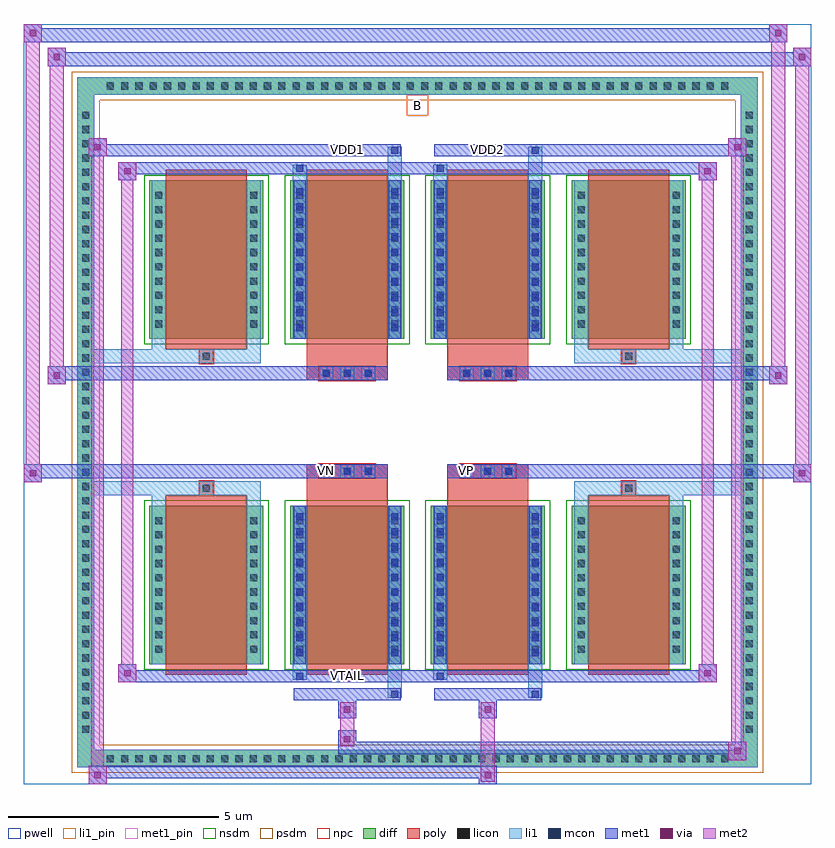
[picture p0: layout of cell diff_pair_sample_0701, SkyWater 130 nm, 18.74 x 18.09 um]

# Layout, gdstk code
import gdstk
lib = gdstk.Library(unit=1e-6, precision=5e-09)
def R(c, l, rs):  # rectangles x0, y0, x1, y1
    for r in rs: c.add(gdstk.rectangle(r[:2], r[2:], *l))
def A(c, l, x, y, w, h, nx, ny, dx, dy):  # array of equal rectangles
    R(c, l, [(x+i*dx, y+j*dy, x+i*dx+w, y+j*dy+h) for i in range(nx) for j in range(ny)])
def P(c, l, *ps):  # polygons
    for p in ps: c.add(gdstk.Polygon(p, *l))
pwell = (64, 44)
diff = (65, 20)
poly = (66, 20)
licon = (66, 44)
li1_pin = (67, 16)
li1 = (67, 20)
mcon = (67, 44)
met1_pin = (68, 16)
met1 = (68, 20)
via = (68, 44)
met2 = (69, 20)
nsdm = (93, 44)
psdm = (94, 20)
npc = (95, 20)

diff_pair_sample_0701 = lib.new_cell('diff_pair_sample_0701')
R(diff_pair_sample_0701, pwell, [(-9.37,-8.61,9.37,9.48), (-6.69,-6.8,-0.01,-0.8), (0.01,-6.8,6.69,-0.8), (-6.69,0.8,-0.01,6.8), (0.01,0.8,6.69,6.8)])
A(diff_pair_sample_0701, diff, -7.515, -8.21, 0.41, 0.41, 44, 2, 0.34, 16.01)
A(diff_pair_sample_0701, diff, -8.1, -7.515, 0.41, 0.41, 1, 44, 0, 0.34)
A(diff_pair_sample_0701, diff, 7.69, -7.515, 0.41, 0.41, 1, 44, 0, 0.34)
A(diff_pair_sample_0701, diff, -6.38, -5.755, 2.71, 3.77, 4, 2, 3.35, 7.74)
R(diff_pair_sample_0701, diff, [(-7.515,-8.21,7.515,-7.8), (-8.1,-7.515,-7.69,7.515), (7.69,-7.515,8.1,7.515), (-7.515,7.8,7.515,8.21)])
P(diff_pair_sample_0701, diff, [(8.1,8.21),(-8.1,8.21),(-8.1,-7.8),(-7.69,-7.8),(-7.69,7.8),(7.69,7.8),(7.69,-7.8),(-7.69,-7.8),(-8.1,-7.8),(-8.1,-8.21),(8.1,-8.21)])
A(diff_pair_sample_0701, poly, -5.99, -6.005, 1.93, 4.27, 4, 2, 3.35, 7.74)
A(diff_pair_sample_0701, poly, -2.34, -1.33, 0.33, 0.33, 3, 2, 0.5, 2.33)
A(diff_pair_sample_0701, poly, 1.01, -1.33, 0.33, 0.33, 3, 2, 0.5, 2.33)
R(diff_pair_sample_0701, poly, [(-5.19,-1.735,-4.86,-1.405), (-5.19,-1.735,-4.86,-1.405), (-2.64,-1.735,-0.71,-1.33), (0.71,-1.735,2.64,-1.33), (4.86,-1.735,5.19,-1.405), (4.86,-1.735,5.19,-1.405), (-2.64,-1.33,-0.71,-1), (0.71,-1.33,2.64,-1), (-2.64,1,-0.71,1.33), (0.71,1,2.64,1.33), (-2.64,1.33,-0.71,1.735), (0.71,1.33,2.64,1.735), (-5.19,1.405,-4.86,1.735), (-5.19,1.405,-4.86,1.735), (4.86,1.405,5.19,1.735), (4.86,1.405,5.19,1.735)])
A(diff_pair_sample_0701, licon, -7.395, -8.09, 0.17, 0.17, 44, 2, 0.34, 16.01)
A(diff_pair_sample_0701, licon, -7.98, -7.395, 0.17, 0.17, 1, 44, 0, 0.34)
A(diff_pair_sample_0701, licon, 7.81, -7.395, 0.17, 0.17, 1, 44, 0, 0.34)
A(diff_pair_sample_0701, licon, -6.24, -5.485, 0.17, 0.17, 1, 10, 0, 0.34)
A(diff_pair_sample_0701, licon, -3.98, -5.485, 0.17, 0.17, 1, 10, 0, 0.34)
A(diff_pair_sample_0701, licon, -2.89, -5.485, 0.17, 0.17, 1, 10, 0, 0.34)
A(diff_pair_sample_0701, licon, -0.63, -5.485, 0.17, 0.17, 1, 10, 0, 0.34)
A(diff_pair_sample_0701, licon, 0.46, -5.485, 0.17, 0.17, 1, 10, 0, 0.34)
A(diff_pair_sample_0701, licon, 2.72, -5.485, 0.17, 0.17, 1, 10, 0, 0.34)
A(diff_pair_sample_0701, licon, 3.81, -5.485, 0.17, 0.17, 1, 10, 0, 0.34)
A(diff_pair_sample_0701, licon, 6.07, -5.485, 0.17, 0.17, 1, 10, 0, 0.34)
A(diff_pair_sample_0701, licon, -2.26, -1.25, 0.17, 0.17, 3, 2, 0.5, 2.33)
A(diff_pair_sample_0701, licon, 1.09, -1.25, 0.17, 0.17, 3, 2, 0.5, 2.33)
A(diff_pair_sample_0701, licon, -6.24, 2.255, 0.17, 0.17, 1, 10, 0, 0.34)
A(diff_pair_sample_0701, licon, -3.98, 2.255, 0.17, 0.17, 1, 10, 0, 0.34)
A(diff_pair_sample_0701, licon, -2.89, 2.255, 0.17, 0.17, 1, 10, 0, 0.34)
A(diff_pair_sample_0701, licon, -0.63, 2.255, 0.17, 0.17, 1, 10, 0, 0.34)
A(diff_pair_sample_0701, licon, 0.46, 2.255, 0.17, 0.17, 1, 10, 0, 0.34)
A(diff_pair_sample_0701, licon, 2.72, 2.255, 0.17, 0.17, 1, 10, 0, 0.34)
A(diff_pair_sample_0701, licon, 3.81, 2.255, 0.17, 0.17, 1, 10, 0, 0.34)
A(diff_pair_sample_0701, licon, 6.07, 2.255, 0.17, 0.17, 1, 10, 0, 0.34)
R(diff_pair_sample_0701, licon, [(-5.11,-1.655,-4.94,-1.485), (4.94,-1.655,5.11,-1.485), (-5.11,1.485,-4.94,1.655), (4.94,1.485,5.11,1.655)])
R(diff_pair_sample_0701, li1_pin, [(-0.25,7.3,0.25,7.8)])
A(diff_pair_sample_0701, li1, -7.475, -8.17, 0.33, 0.33, 44, 2, 0.34, 16.01)
A(diff_pair_sample_0701, li1, -8.06, -7.475, 0.33, 0.33, 1, 44, 0, 0.34)
A(diff_pair_sample_0701, li1, 7.73, -7.475, 0.33, 0.33, 1, 44, 0, 0.34)
A(diff_pair_sample_0701, li1, -2.89, -5.575, 0.17, 0.17, 1, 10, 0, 0.36)
A(diff_pair_sample_0701, li1, -0.63, -5.575, 0.17, 0.17, 1, 10, 0, 0.36)
A(diff_pair_sample_0701, li1, 0.46, -5.575, 0.17, 0.17, 1, 10, 0, 0.36)
A(diff_pair_sample_0701, li1, 2.72, -5.575, 0.17, 0.17, 1, 10, 0, 0.36)
A(diff_pair_sample_0701, li1, -6.32, -5.565, 0.33, 0.33, 1, 10, 0, 0.34)
A(diff_pair_sample_0701, li1, -4.06, -5.565, 0.33, 0.33, 1, 10, 0, 0.34)
A(diff_pair_sample_0701, li1, -2.97, -5.565, 0.33, 0.33, 1, 10, 0, 0.34)
A(diff_pair_sample_0701, li1, -0.71, -5.565, 0.33, 0.33, 1, 10, 0, 0.34)
A(diff_pair_sample_0701, li1, 0.38, -5.565, 0.33, 0.33, 1, 10, 0, 0.34)
A(diff_pair_sample_0701, li1, 2.64, -5.565, 0.33, 0.33, 1, 10, 0, 0.34)
A(diff_pair_sample_0701, li1, 3.73, -5.565, 0.33, 0.33, 1, 10, 0, 0.34)
A(diff_pair_sample_0701, li1, 5.99, -5.565, 0.33, 0.33, 1, 10, 0, 0.34)
A(diff_pair_sample_0701, li1, -2.34, -1.33, 0.33, 0.33, 3, 2, 0.5, 2.33)
A(diff_pair_sample_0701, li1, 1.01, -1.33, 0.33, 0.33, 3, 2, 0.5, 2.33)
A(diff_pair_sample_0701, li1, -2.89, 2.165, 0.17, 0.17, 1, 10, 0, 0.36)
A(diff_pair_sample_0701, li1, -0.63, 2.165, 0.17, 0.17, 1, 10, 0, 0.36)
A(diff_pair_sample_0701, li1, 0.46, 2.165, 0.17, 0.17, 1, 10, 0, 0.36)
A(diff_pair_sample_0701, li1, 2.72, 2.165, 0.17, 0.17, 1, 10, 0, 0.36)
A(diff_pair_sample_0701, li1, -6.32, 2.175, 0.33, 0.33, 1, 10, 0, 0.34)
A(diff_pair_sample_0701, li1, -4.06, 2.175, 0.33, 0.33, 1, 10, 0, 0.34)
A(diff_pair_sample_0701, li1, -2.97, 2.175, 0.33, 0.33, 1, 10, 0, 0.34)
A(diff_pair_sample_0701, li1, -0.71, 2.175, 0.33, 0.33, 1, 10, 0, 0.34)
A(diff_pair_sample_0701, li1, 0.38, 2.175, 0.33, 0.33, 1, 10, 0, 0.34)
A(diff_pair_sample_0701, li1, 2.64, 2.175, 0.33, 0.33, 1, 10, 0, 0.34)
A(diff_pair_sample_0701, li1, 3.73, 2.175, 0.33, 0.33, 1, 10, 0, 0.34)
A(diff_pair_sample_0701, li1, 5.99, 2.175, 0.33, 0.33, 1, 10, 0, 0.34)
R(diff_pair_sample_0701, li1, [(-8.1,-8.21,-7.69,-7.8), (-8.1,-8.21,-7.69,-7.8), (-7.69,-8.21,7.69,-7.8), (7.69,-8.21,8.1,-7.8), (7.69,-8.21,8.1,-7.8), (-8.1,-7.8,-7.69,7.8), (7.69,-7.8,8.1,7.8), (-0.71,-6.56,-0.38,-5.755), (-0.63,-6.56,-0.46,-6.39), (2.64,-6.56,2.97,-5.755), (2.72,-6.56,2.89,-6.39), (-2.97,-6.13,-2.64,-5.755), (-2.89,-6.13,-2.72,-5.96), (0.38,-6.13,0.71,-5.755), (0.46,-6.13,0.63,-5.96), (-6.32,-5.755,-5.99,-1.985), (-4.06,-5.755,-3.73,-1.985), (-2.97,-5.755,-2.64,-1.985), (-0.71,-5.755,-0.38,-1.985), (0.38,-5.755,0.71,-1.985), (2.64,-5.755,2.97,-1.985), (3.73,-5.755,4.06,-1.985), (5.99,-5.755,6.32,-1.985), (-2.89,-5.575,-2.72,-2.165), (-0.63,-5.575,-0.46,-2.165), (0.46,-5.575,0.63,-2.165), (2.72,-5.575,2.89,-2.165), (-6.32,-1.985,-5.99,-1.405), (-4.06,-1.985,-3.73,-1.405), (3.73,-1.985,4.06,-1.405), (5.99,-1.985,6.32,-1.405), (-8.1,-1.735,-5.19,-1.405), (-6.32,-1.735,-5.19,-1.405), (-5.19,-1.735,-4.86,-1.405), (-4.86,-1.735,-3.73,-1.405), (3.73,-1.735,4.86,-1.405), (4.86,-1.735,5.19,-1.405), (4.86,-1.735,8.1,-1.405), (5.19,-1.735,6.32,-1.405), (-8.1,1.405,-5.19,1.735), (-6.32,1.405,-5.19,1.735), (-6.32,1.405,-5.99,1.985), (-5.19,1.405,-4.86,1.735), (-4.86,1.405,-3.73,1.735), (-4.06,1.405,-3.73,1.985), (3.73,1.405,4.86,1.735), (3.73,1.405,4.06,1.985), (4.86,1.405,5.19,1.735), (4.86,1.405,8.1,1.735), (5.19,1.405,6.32,1.735), (5.99,1.405,6.32,1.985), (-6.32,1.985,-5.99,5.755), (-4.06,1.985,-3.73,5.755), (-2.97,1.985,-2.64,5.755), (-0.71,1.985,-0.38,5.755), (0.38,1.985,0.71,5.755), (2.64,1.985,2.97,5.755), (3.73,1.985,4.06,5.755), (5.99,1.985,6.32,5.755), (-2.89,2.165,-2.72,5.575), (-0.63,2.165,-0.46,5.575), (0.46,2.165,0.63,5.575), (2.72,2.165,2.89,5.575), (-2.97,5.755,-2.64,6.13), (-0.71,5.755,-0.38,6.56), (0.38,5.755,0.71,6.13), (2.64,5.755,2.97,6.56), (-2.89,5.96,-2.72,6.13), (0.46,5.96,0.63,6.13), (-0.63,6.39,-0.46,6.56), (2.72,6.39,2.89,6.56), (-8.1,7.8,-7.69,8.21), (-8.1,7.8,-7.69,8.21), (-7.69,7.8,7.69,8.21), (7.69,7.8,8.1,8.21), (7.69,7.8,8.1,8.21)])
A(diff_pair_sample_0701, mcon, -2.89, -5.575, 0.17, 0.17, 1, 10, 0, 0.36)
A(diff_pair_sample_0701, mcon, -0.63, -5.575, 0.17, 0.17, 1, 10, 0, 0.36)
A(diff_pair_sample_0701, mcon, 0.46, -5.575, 0.17, 0.17, 1, 10, 0, 0.36)
A(diff_pair_sample_0701, mcon, 2.72, -5.575, 0.17, 0.17, 1, 10, 0, 0.36)
A(diff_pair_sample_0701, mcon, -2.26, -1.25, 0.17, 0.17, 3, 2, 0.5, 2.33)
A(diff_pair_sample_0701, mcon, 1.09, -1.25, 0.17, 0.17, 3, 2, 0.5, 2.33)
A(diff_pair_sample_0701, mcon, -2.89, 2.165, 0.17, 0.17, 1, 10, 0, 0.36)
A(diff_pair_sample_0701, mcon, -0.63, 2.165, 0.17, 0.17, 1, 10, 0, 0.36)
A(diff_pair_sample_0701, mcon, 0.46, 2.165, 0.17, 0.17, 1, 10, 0, 0.36)
A(diff_pair_sample_0701, mcon, 2.72, 2.165, 0.17, 0.17, 1, 10, 0, 0.36)
R(diff_pair_sample_0701, mcon, [(-0.63,-6.56,-0.46,-6.39), (2.72,-6.56,2.89,-6.39), (-2.89,-6.13,-2.72,-5.96), (0.46,-6.13,0.63,-5.96), (-2.89,5.96,-2.72,6.13), (0.46,5.96,0.63,6.13), (-0.63,6.39,-0.46,6.56), (2.72,6.39,2.89,6.56)])
R(diff_pair_sample_0701, met1_pin, [(-1.81,-6.17,-1.54,-5.9), (-2.31,-1.29,-2.04,-1.02), (1.04,-1.29,1.31,-1.02), (-1.81,6.35,-1.54,6.62), (1.54,6.35,1.81,6.62)])
A(diff_pair_sample_0701, met1, -2.95, -5.635, 0.29, 0.29, 1, 10, 0, 0.36)
A(diff_pair_sample_0701, met1, -0.69, -5.635, 0.29, 0.29, 1, 10, 0, 0.36)
A(diff_pair_sample_0701, met1, 0.4, -5.635, 0.29, 0.29, 1, 10, 0, 0.36)
A(diff_pair_sample_0701, met1, 2.66, -5.635, 0.29, 0.29, 1, 10, 0, 0.36)
A(diff_pair_sample_0701, met1, -2.32, -1.31, 0.29, 0.29, 3, 2, 0.5, 2.33)
A(diff_pair_sample_0701, met1, 1.03, -1.31, 0.29, 0.29, 3, 2, 0.5, 2.33)
A(diff_pair_sample_0701, met1, -2.95, 2.105, 0.29, 0.29, 1, 10, 0, 0.36)
A(diff_pair_sample_0701, met1, -0.69, 2.105, 0.29, 0.29, 1, 10, 0, 0.36)
A(diff_pair_sample_0701, met1, 0.4, 2.105, 0.29, 0.29, 1, 10, 0, 0.36)
A(diff_pair_sample_0701, met1, 2.66, 2.105, 0.29, 0.29, 1, 10, 0, 0.36)
R(diff_pair_sample_0701, met1, [(-7.83,-8.61,-7.4,-8.18), (1.46,-8.61,1.89,-8.18), (-7.83,-8.47,1.89,-8.18), (7.4,-8.04,7.83,-7.61), (-1.89,-7.9,7.83,-7.61), (-1.89,-7.76,-1.46,-7.33), (-1.89,-7.05,-1.46,-6.62), (1.46,-7.05,1.89,-6.62), (-2.95,-6.62,-0.4,-6.33), (-0.69,-6.62,-0.4,-6.33), (0.4,-6.62,2.95,-6.33), (2.66,-6.62,2.95,-6.33), (-7.12,-6.19,-6.69,-5.76), (-7.12,-6.19,-2.95,-5.9), (-2.95,-6.19,-2.66,-5.9), (-2.95,-6.19,-0.4,-5.9), (-0.4,-6.19,0.4,-5.9), (0.4,-6.19,0.69,-5.9), (0.4,-6.19,2.95,-5.9), (2.95,-6.19,7.12,-5.9), (6.69,-6.19,7.12,-5.76), (-2.95,-5.755,-2.66,-1.985), (-0.69,-5.755,-0.4,-1.985), (0.4,-5.755,0.69,-1.985), (2.66,-5.755,2.95,-1.985), (-9.37,-1.43,-8.94,-1), (8.94,-1.43,9.37,-1), (-9.37,-1.33,-0.71,-1), (-2.64,-1.33,-0.71,-1), (0.71,-1.33,2.64,-1), (0.71,-1.33,9.37,-1), (-8.8,0.9,-8.37,1.33), (8.37,0.9,8.8,1.33), (-8.8,1,-2.64,1.33), (-2.64,1,-0.71,1.33), (0.71,1,2.64,1.33), (2.64,1,8.8,1.33), (-2.95,1.985,-2.66,5.755), (-0.69,1.985,-0.4,5.755), (0.4,1.985,0.69,5.755), (2.66,1.985,2.95,5.755), (-7.12,5.76,-6.69,6.19), (6.69,5.76,7.12,6.19), (-7.12,5.9,-2.95,6.19), (-2.95,5.9,-2.66,6.19), (-2.95,5.9,-0.4,6.19), (-0.4,5.9,0.4,6.19), (0.4,5.9,0.69,6.19), (0.4,5.9,2.95,6.19), (2.95,5.9,7.12,6.19), (-7.83,6.33,-7.4,6.76), (-7.83,6.33,-2.95,6.62), (-2.95,6.33,-0.4,6.62), (-0.69,6.33,-0.4,6.62), (0.4,6.33,2.95,6.62), (2.66,6.33,2.95,6.62), (2.95,6.33,7.83,6.62), (7.4,6.33,7.83,6.76), (-8.8,8.48,-8.37,8.91), (-8.8,8.48,-6.69,8.81), (-6.69,8.48,6.69,8.81), (6.69,8.48,9.37,8.81), (8.94,8.48,9.37,8.91), (-9.37,9.05,-8.94,9.48), (-9.37,9.05,-6.69,9.38), (-6.69,9.05,6.69,9.38), (6.69,9.05,8.8,9.38), (8.37,9.05,8.8,9.48)])
R(diff_pair_sample_0701, via, [(-7.69,-8.47,-7.54,-8.32), (1.6,-8.47,1.75,-8.32), (7.54,-7.9,7.69,-7.75), (-1.75,-7.62,-1.6,-7.47), (-1.75,-6.91,-1.6,-6.76), (1.6,-6.91,1.75,-6.76), (-6.98,-6.05,-6.83,-5.9), (6.83,-6.05,6.98,-5.9), (-9.23,-1.29,-9.08,-1.14), (9.08,-1.29,9.23,-1.14), (-8.66,1.04,-8.51,1.19), (8.51,1.04,8.66,1.19), (-6.98,5.9,-6.83,6.05), (6.83,5.9,6.98,6.05), (-7.69,6.47,-7.54,6.62), (7.54,6.47,7.69,6.62), (-8.66,8.62,-8.51,8.77), (9.08,8.62,9.23,8.77), (-9.23,9.19,-9.08,9.34), (8.51,9.19,8.66,9.34)])
R(diff_pair_sample_0701, met2, [(-7.83,-8.61,-7.4,-8.18), (-7.76,-8.61,-7.47,6.76), (-7.47,-8.61,-7.4,-8.18), (-7.78,-8.56,-7.45,-8.23), (1.51,-8.56,1.84,-8.23), (1.51,-8.23,1.84,-7), (7.4,-8.04,7.83,-7.61), (7.47,-8.04,7.76,6.76), (7.76,-8.04,7.83,-7.61), (7.45,-7.99,7.78,-7.66), (-1.84,-7.71,-1.51,-7.38), (-1.84,-7.38,-1.51,-7), (-1.84,-7,-1.51,-6.67), (1.51,-7,1.84,-6.67), (-7.12,-6.19,-6.69,-5.76), (-7.05,-6.19,-6.76,6.19), (-6.76,-6.19,-6.69,-5.76), (6.69,-6.19,7.12,-5.76), (6.76,-6.19,7.05,6.19), (7.05,-6.19,7.12,-5.76), (-7.07,-6.14,-6.74,-5.81), (6.74,-6.14,7.07,-5.81), (-9.37,-1.43,-8.94,-1), (-9.32,-1.43,-8.99,9.48), (-8.99,-1.43,-8.94,-1), (8.94,-1.43,9.37,-1), (8.99,-1.43,9.32,8.91), (9.32,-1.43,9.37,-1), (-9.32,-1.38,-8.99,-1.05), (8.99,-1.38,9.32,-1.05), (-8.8,0.9,-8.37,1.33), (-8.75,0.9,-8.42,8.91), (-8.42,0.9,-8.37,1.33), (8.37,0.9,8.8,1.33), (8.42,0.9,8.75,9.48), (8.75,0.9,8.8,1.33), (-8.75,0.95,-8.42,1.28), (8.42,0.95,8.75,1.28), (-7.12,5.76,-6.69,6.19), (-6.76,5.76,-6.69,6.19), (6.69,5.76,7.12,6.19), (7.05,5.76,7.12,6.19), (-7.07,5.81,-6.74,6.14), (6.74,5.81,7.07,6.14), (-7.83,6.33,-7.4,6.76), (-7.47,6.33,-7.4,6.76), (7.4,6.33,7.83,6.76), (7.76,6.33,7.83,6.76), (-7.78,6.38,-7.45,6.71), (7.45,6.38,7.78,6.71), (-8.8,8.48,-8.37,8.91), (-8.42,8.48,-8.37,8.91), (8.94,8.48,9.37,8.91), (9.32,8.48,9.37,8.91), (-8.75,8.53,-8.42,8.86), (8.99,8.53,9.32,8.86), (-9.37,9.05,-8.94,9.48), (-8.99,9.05,-8.94,9.48), (8.37,9.05,8.8,9.48), (8.75,9.05,8.8,9.48), (-9.32,9.1,-8.99,9.43), (8.42,9.1,8.75,9.43)])
A(diff_pair_sample_0701, nsdm, -6.51, -5.885, 2.97, 4.03, 4, 2, 3.35, 7.74)
P(diff_pair_sample_0701, psdm, [(8.23,8.34),(-8.23,8.34),(-8.23,-7.67),(-7.56,-7.67),(-7.56,7.67),(7.56,7.67),(7.56,-7.67),(-7.56,-7.67),(-8.23,-7.67),(-8.23,-8.34),(8.23,-8.34)])
A(diff_pair_sample_0701, npc, -2.36, -1.35, 0.37, 0.37, 3, 2, 0.5, 2.33)
A(diff_pair_sample_0701, npc, 0.99, -1.35, 0.37, 0.37, 3, 2, 0.5, 2.33)
R(diff_pair_sample_0701, npc, [(-5.21,-1.755,-4.84,-1.385), (4.84,-1.755,5.21,-1.385), (-2.36,-1.35,-1.49,-0.98), (-2.36,-1.35,-1.49,-0.98), (-1.86,-1.35,-0.99,-0.98), (-1.86,-1.35,-0.99,-0.98), (0.99,-1.35,1.86,-0.98), (0.99,-1.35,1.86,-0.98), (1.49,-1.35,2.36,-0.98), (1.49,-1.35,2.36,-0.98), (-2.36,0.98,-1.49,1.35), (-2.36,0.98,-1.49,1.35), (-1.86,0.98,-0.99,1.35), (-1.86,0.98,-0.99,1.35), (0.99,0.98,1.86,1.35), (0.99,0.98,1.86,1.35), (1.49,0.98,2.36,1.35), (1.49,0.98,2.36,1.35), (-5.21,1.385,-4.84,1.755), (4.84,1.385,5.21,1.755)])
diff_pair_sample_0701.add(gdstk.Label('VTAIL', (-1.675,-6.035), layer=68, texttype=5))
diff_pair_sample_0701.add(gdstk.Label('VN', (-2.175,-1.155), layer=68, texttype=5))
diff_pair_sample_0701.add(gdstk.Label('VP', (1.175,-1.155), layer=68, texttype=5))
diff_pair_sample_0701.add(gdstk.Label('B', (0,7.55), layer=67, texttype=5))
diff_pair_sample_0701.add(gdstk.Label('VDD2', (1.675,6.485), layer=68, texttype=5))
diff_pair_sample_0701.add(gdstk.Label('VDD1', (-1.675,6.485), layer=68, texttype=5))

lib.write_gds('diff_pair_sample_0701.gds')
